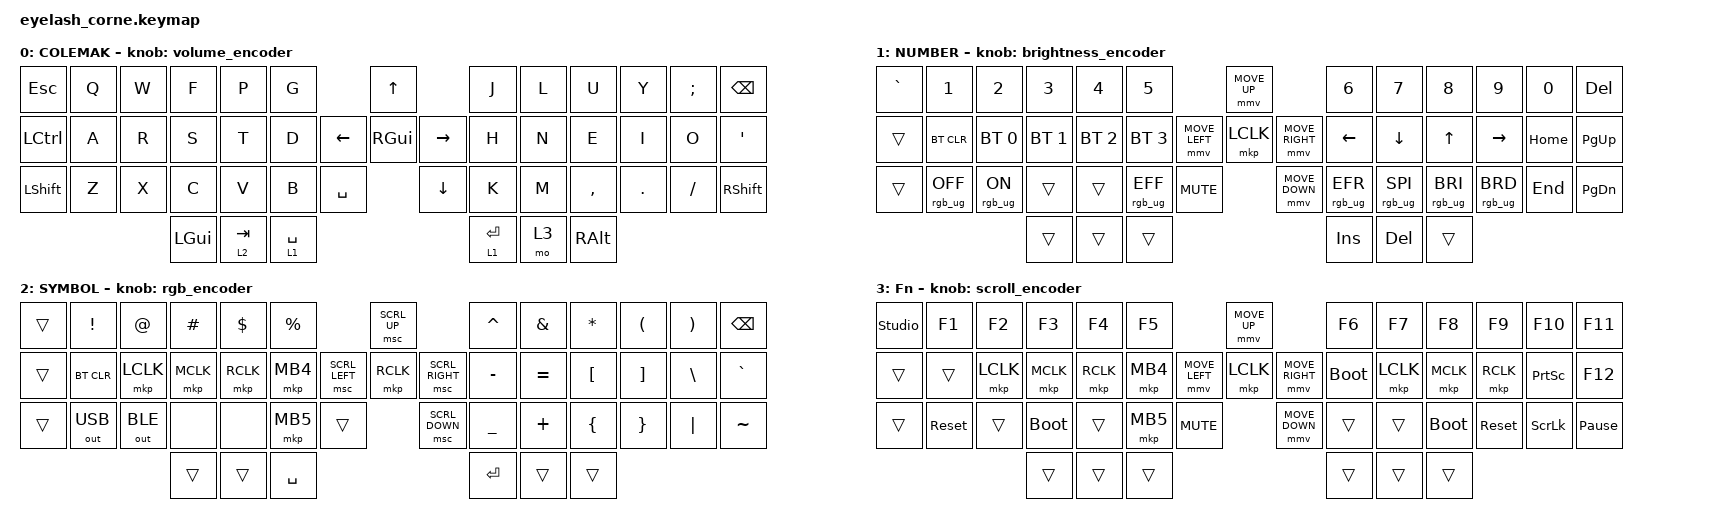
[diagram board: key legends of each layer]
#define ZMK_POINTING_DEFAULT_MOVE_VAL 1200  // 600
#define ZMK_POINTING_DEFAULT_SCRL_VAL 25   // 10

#include <input/processors.dtsi>
#include <zephyr/dt-bindings/input/input-event-codes.h>
#include <behaviors.dtsi>
#include <dt-bindings/zmk/bt.h>
#include <dt-bindings/zmk/keys.h>
#include <dt-bindings/zmk/outputs.h>
#include <dt-bindings/zmk/pointing.h>
#include <dt-bindings/zmk/rgb.h>

&mmv_input_listener { input-processors = <&zip_xy_scaler 2 1>; };

&msc_input_listener { input-processors = <&zip_scroll_scaler 2 1>; };

&msc {
    acceleration-exponent = <1>;      // 0
    time-to-max-speed-ms = <300>;       // 300
    delay-ms = <0>;                  // 0
    trigger-period-ms = <8>;
};

&mmv {
    time-to-max-speed-ms = <400>;
    acceleration-exponent = <2>;
    trigger-period-ms = <16>;
};

&soft_off { hold-time-ms = <2000>; };

/ {
    behaviors {
        td0: td0 {
            compatible = "zmk,behavior-tap-dance";
            display-name = "Shift/Caps Lock Tap Dance";
            #binding-cells = <0>;
            bindings = <&kp LEFT_SHIFT>, <&kp CAPS>;
        };

        volume_encoder: volume_encoder {
            compatible = "zmk,behavior-sensor-rotate";
            #sensor-binding-cells = <0>;
            bindings = <&kp C_VOLUME_UP>, <&kp C_VOLUME_DOWN>;

            tap-ms = <100>;
            label = "VOLUME_ENCODER";
        };

        brightness_encoder: brightness_encoder {
            compatible = "zmk,behavior-sensor-rotate";
            #sensor-binding-cells = <0>;
            bindings = <&kp C_BRIGHTNESS_INC>, <&kp C_BRIGHTNESS_DEC>;

            tap-ms = <100>;
            label = "BRIGHTNESS_ENCODER";
        };
    };

    rgb_encoder: rgb_encoder {
        compatible = "zmk,behavior-sensor-rotate";
        #sensor-binding-cells = <0>;
        bindings = <&rgb_ug RGB_BRI>, <&rgb_ug RGB_BRD>;
    };

    scroll_encoder: scroll_encoder {
        compatible = "zmk,behavior-sensor-rotate";
        #sensor-binding-cells = <0>;
        bindings = <&msc SCRL_DOWN>, <&msc SCRL_UP>;

        tap-ms = <100>;
    };

    scroll_encoder_side: scroll_encoder_side {
        compatible = "zmk,behavior-sensor-rotate";
        #sensor-binding-cells = <0>;
        bindings = <&msc SCRL_LEFT>, <&msc SCRL_RIGHT>;

        tap-ms = <100>;
    };

    combos {
        compatible = "zmk,combos";

        softoff {
            bindings = <&soft_off>;
            key-positions = <1 15 29>;
        };
    };

    keymap {
        compatible = "zmk,keymap";

        default_layer {
            display-name = "COLEMAK";
            bindings = <
&kp ESC           &kp Q  &kp W  &kp F     &kp P      &kp G                               &kp UP                    &kp J        &kp L  &kp U      &kp Y    &kp SEMICOLON  &kp BSPC
&kp LEFT_CONTROL  &kp A  &kp R  &kp S     &kp T      &kp D                     &kp LEFT  &kp RIGHT_GUI  &kp RIGHT  &kp H        &kp N  &kp E      &kp I    &kp O          &kp SQT
&kp LEFT_SHIFT    &kp Z  &kp X  &kp C     &kp V      &kp B        &kp SPACE              &kp DOWN                  &kp K        &kp M  &kp COMMA  &kp DOT  &kp FSLH       &kp RIGHT_SHIFT
                                &kp LGUI  &lt 2 TAB  &lt 1 SPACE                                                   &lt 1 ENTER  &mo 3  &kp RALT
            >;

            sensor-bindings = <&volume_encoder>;
        };

        lower_layer {
            display-name = "NUMBER";
            bindings = <
&kp GRAVE  &kp N1           &kp N2          &kp N3        &kp N4        &kp N5                                         &mmv MOVE_UP                     &kp N6           &kp N7           &kp N8           &kp N9           &kp N0    &kp DELETE
&trans     &bt BT_CLR       &bt BT_SEL 0    &bt BT_SEL 1  &bt BT_SEL 2  &bt BT_SEL 3                   &mmv MOVE_LEFT  &mkp LCLK       &mmv MOVE_RIGHT  &kp LEFT         &kp DOWN         &kp UP           &kp RIGHT        &kp HOME  &kp PG_UP
&trans     &rgb_ug RGB_OFF  &rgb_ug RGB_ON  &trans        &trans        &rgb_ug RGB_EFF  &kp C_MUTE                    &mmv MOVE_DOWN                   &rgb_ug RGB_EFR  &rgb_ug RGB_SPI  &rgb_ug RGB_BRI  &rgb_ug RGB_BRD  &kp END   &kp PG_DN
                                            &trans        &trans        &trans                                                                          &kp INS          &kp DEL          &trans
            >;

            sensor-bindings = <&brightness_encoder>;
        };

        raise_layer {
            display-name = "SYMBOL";
            bindings = <
&trans  &kp EXCL      &kp AT        &kp HASH   &kp DLLR   &kp PRCNT                            &msc SCRL_UP                     &kp CARET  &kp AMPS   &kp ASTRK  &kp LPAR  &kp RPAR  &kp BSPC
&trans  &bt BT_CLR    &mkp LCLK     &mkp MCLK  &mkp RCLK  &mkp MB4             &msc SCRL_LEFT  &mkp RCLK       &msc SCRL_RIGHT  &kp MINUS  &kp EQUAL  &kp LBKT   &kp RBKT  &kp BSLH  &kp GRAVE
&trans  &out OUT_USB  &out OUT_BLE  &none      &none      &mkp MB5   &trans                    &msc SCRL_DOWN                   &kp UNDER  &kp PLUS   &kp LBRC   &kp RBRC  &kp PIPE  &kp TILDE
                                    &trans     &trans     &kp SPACE                                                             &kp RET    &trans     &trans
            >;

            sensor-bindings = <&rgb_encoder>;
        };

        layer_3 {
            display-name = "Fn";
            bindings = <
&studio_unlock  &kp F1      &kp F2     &kp F3       &kp F4     &kp F5                                  &mmv MOVE_UP                     &kp F6       &kp F7     &kp F8       &kp F9      &kp F10          &kp F11
&trans          &trans      &mkp LCLK  &mkp MCLK    &mkp RCLK  &mkp MB4                &mmv MOVE_LEFT  &mkp LCLK       &mmv MOVE_RIGHT  &bootloader  &mkp LCLK  &mkp MCLK    &mkp RCLK   &kp PRINTSCREEN  &kp F12
&trans          &sys_reset  &trans     &bootloader  &trans     &mkp MB5  &kp C_MUTE                    &mmv MOVE_DOWN                   &trans       &trans     &bootloader  &sys_reset  &kp SCROLLLOCK   &kp PAUSE_BREAK
                                       &trans       &trans     &trans                                                                   &trans       &trans     &trans
            >;

            sensor-bindings = <&scroll_encoder>;
        };
    };
};
